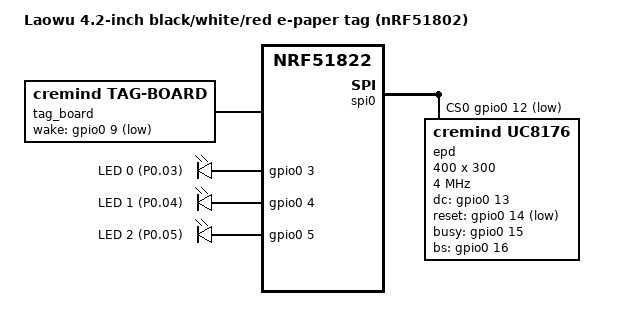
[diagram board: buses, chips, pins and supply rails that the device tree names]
/*
 * Copyright (c) 2026 Cremind
 * SPDX-License-Identifier: MIT
 *
 * Laowu 4.2-inch black/white/red e-paper tag: nRF51802 modelled as nRF51822
 * QFAA (256 KiB flash, 16 KiB SRAM), UltraChip UC8176 400x300 two-plane panel.
 * Pins from hardware/matrix.yaml (source: EPD-nRF5 docs/devices.md hardware
 * documentation). Nothing here has been verified on a physical sample yet
 * (docs/hardware/verification.md).
 */

/dts-v1/;
#include <nordic/nrf51822_qfaa.dtsi>
#include "laowu_bwr-pinctrl.dtsi"

/ {
	model = "Laowu 4.2-inch black/white/red e-paper tag (nRF51802)";
	compatible = "cremind,laowu-bwr";

	chosen {
		zephyr,sram = &sram0;
		zephyr,flash = &flash0;
		zephyr,code-partition = &code_partition;
		/* Only takes effect when a debug overlay enables uart0. */
		zephyr,console = &uart0;
		cremind,tag-board = &tag_board;
		cremind,panel = &epd;
	};

	tag_board: tag-board {
		compatible = "cremind,tag-board";
		board-id = <17>;
		/* Wake source and polarity unverified: firmware must not rely on it. */
		wake-gpios = <&gpio0 9 (GPIO_PULL_UP | GPIO_ACTIVE_LOW)>;
	};

	/* Three LEDs documented on P0.03/04/05; drive polarity unverified. */
	leds {
		compatible = "gpio-leds";

		led0: led_0 {
			gpios = <&gpio0 3 GPIO_ACTIVE_HIGH>;
			label = "LED 0 (P0.03)";
		};

		led1: led_1 {
			gpios = <&gpio0 4 GPIO_ACTIVE_HIGH>;
			label = "LED 1 (P0.04)";
		};

		led2: led_2 {
			gpios = <&gpio0 5 GPIO_ACTIVE_HIGH>;
			label = "LED 2 (P0.05)";
		};
	};

	aliases {
		led0 = &led0;
		led1 = &led1;
		led2 = &led2;
		watchdog0 = &wdt0;
	};
};

&gpiote {
	status = "okay";
};

&gpio0 {
	status = "okay";
};

/* Debug TX pad only (P0.08). Enable in an overlay for bring-up. */
&uart0 {
	status = "disabled";
	current-speed = <115200>;
	disable-rx;
	pinctrl-0 = <&uart0_default>;
	pinctrl-1 = <&uart0_sleep>;
	pinctrl-names = "default", "sleep";
};

&spi0 {
	compatible = "nordic,nrf-spi";
	status = "okay";
	cs-gpios = <&gpio0 12 GPIO_ACTIVE_LOW>;
	pinctrl-0 = <&spi0_default>;
	pinctrl-1 = <&spi0_sleep>;
	pinctrl-names = "default", "sleep";

	epd: epd@0 {
		compatible = "cremind,uc8176";
		reg = <0>;
		spi-max-frequency = <DT_FREQ_M(4)>;
		dc-gpios = <&gpio0 13 GPIO_ACTIVE_HIGH>;
		reset-gpios = <&gpio0 14 GPIO_ACTIVE_LOW>;
		busy-gpios = <&gpio0 15 GPIO_ACTIVE_HIGH>;
		bs-gpios = <&gpio0 16 GPIO_ACTIVE_HIGH>;
		width = <400>;
		height = <300>;
		planes = <2>;
		/* Plane polarity to be confirmed during panel verification. */
		plane-flags = <0x03>;
		/* Upper bound until measured during qualification (red refresh is slow). */
		refresh-timeout-ms = <30000>;
		panel-id = <2>;	/* UC8176_420_BWR */
	};
};

&flash0 {
	partitions {
		ranges;
		#address-cells = <1>;
		#size-cells = <1>;

		code_partition: partition@0 {
			compatible = "zephyr,mapped-partition";
			label = "code";
			reg = <0x00000000 0x0003f000>;
		};

		/* NVS: 4 x 1 KiB pages at the end of flash (docs/firmware-notes.md section 9). */
		storage_partition: partition@3f000 {
			compatible = "zephyr,mapped-partition";
			label = "storage";
			reg = <0x0003f000 0x00001000>;
		};
	};
};
